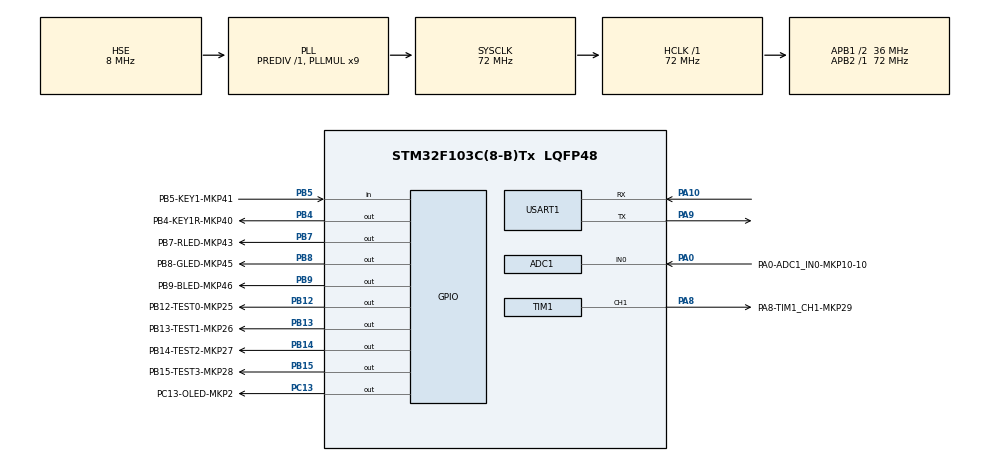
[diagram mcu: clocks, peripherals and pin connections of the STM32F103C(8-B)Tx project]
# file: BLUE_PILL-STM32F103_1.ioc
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ADC1.Channel-0\#ChannelRegularConversion=ADC_CHANNEL_0
ADC1.Channel-1\#ChannelRegularConversion=ADC_CHANNEL_VREFINT
ADC1.ExternalTrigConv=ADC_EXTERNALTRIGCONV_T3_TRGO
ADC1.NbrOfConversion=2
ADC1.NbrOfConversionFlag=1
ADC1.Rank-0\#ChannelRegularConversion=1
ADC1.Rank-1\#ChannelRegularConversion=2
ADC1.SamplingTime-0\#ChannelRegularConversion=ADC_SAMPLETIME_239CYCLES_5
ADC1.SamplingTime-1\#ChannelRegularConversion=ADC_SAMPLETIME_239CYCLES_5
ADC1.master=1
Dma.ADC1.0.Direction=DMA_PERIPH_TO_MEMORY
Dma.ADC1.0.Instance=DMA1_Channel1
Dma.ADC1.0.MemDataAlignment=DMA_MDATAALIGN_HALFWORD
Dma.ADC1.0.MemInc=DMA_MINC_ENABLE
Dma.ADC1.0.Mode=DMA_NORMAL
Dma.ADC1.0.PeriphDataAlignment=DMA_PDATAALIGN_HALFWORD
Dma.ADC1.0.PeriphInc=DMA_PINC_DISABLE
Dma.ADC1.0.Priority=DMA_PRIORITY_LOW
Dma.Request0=ADC1
Dma.Request1=USART1_TX
Dma.USART1_TX.1.Direction=DMA_MEMORY_TO_PERIPH
Dma.USART1_TX.1.Instance=DMA1_Channel4
Dma.USART1_TX.1.MemDataAlignment=DMA_MDATAALIGN_BYTE
Dma.USART1_TX.1.MemInc=DMA_MINC_ENABLE
Dma.USART1_TX.1.Mode=DMA_NORMAL
Dma.USART1_TX.1.PeriphDataAlignment=DMA_PDATAALIGN_BYTE
Dma.USART1_TX.1.PeriphInc=DMA_PINC_DISABLE
Dma.USART1_TX.1.Priority=DMA_PRIORITY_LOW
IWDG.Prescaler=IWDG_PRESCALER_256
Mcu.Family=STM32F1
Mcu.Name=STM32F103C(8-B)Tx
Mcu.Package=LQFP48
NVIC.ADC1_2_IRQn=true\:0\:0\:false\:false\:true\:true\:true\:true
NVIC.DMA1_Channel1_IRQn=true\:0\:0\:false\:false\:true\:false\:true\:true
NVIC.DMA1_Channel4_IRQn=true\:0\:0\:false\:false\:true\:false\:true\:true
NVIC.PriorityGroup=NVIC_PRIORITYGROUP_4
NVIC.USART1_IRQn=true\:0\:0\:false\:false\:true\:false\:true\:true
PA0-WKUP.GPIO_Label=PA0-ADC1_IN0-MKP10-10
PA0-WKUP.Signal=ADCx_IN0
PA10.Mode=Asynchronous
PA10.Signal=USART1_RX
PA13.Mode=Trace_Asynchronous_SW
PA13.Signal=SYS_JTMS-SWDIO
PA14.Mode=Trace_Asynchronous_SW
PA14.Signal=SYS_JTCK-SWCLK
PA8.GPIO_Label=PA8-TIM1_CH1-MKP29
PA8.GPIO_Speed=GPIO_SPEED_FREQ_HIGH
PA8.Signal=S_TIM1_CH1
PA9.Mode=Asynchronous
PA9.Signal=USART1_TX
PB12.GPIO_Label=PB12-TEST0-MKP25
PB12.GPIO_Speed=GPIO_SPEED_FREQ_HIGH
PB12.PinState=GPIO_PIN_RESET
PB12.Signal=GPIO_Output
PB13.GPIO_Label=PB13-TEST1-MKP26
PB13.GPIO_Speed=GPIO_SPEED_FREQ_HIGH
PB13.PinState=GPIO_PIN_RESET
PB13.Signal=GPIO_Output
PB14.GPIO_Label=PB14-TEST2-MKP27
PB14.GPIO_Speed=GPIO_SPEED_FREQ_HIGH
PB14.PinState=GPIO_PIN_RESET
PB14.Signal=GPIO_Output
PB15.GPIO_Label=PB15-TEST3-MKP28
PB15.GPIO_Speed=GPIO_SPEED_FREQ_HIGH
PB15.PinState=GPIO_PIN_RESET
PB15.Signal=GPIO_Output
PB3.Mode=Trace_Asynchronous_SW
PB3.Signal=SYS_JTDO-TRACESWO
PB4.GPIO_Label=PB4-KEY1R-MKP40
PB4.Signal=GPIO_Output
PB5.GPIO_Label=PB5-KEY1-MKP41
PB5.Signal=GPIO_Input
PB7.GPIO_Label=PB7-RLED-MKP43
PB7.PinState=GPIO_PIN_SET
PB7.Signal=GPIO_Output
PB8.GPIO_Label=PB8-GLED-MKP45
PB8.PinState=GPIO_PIN_SET
PB8.Signal=GPIO_Output
PB9.GPIO_Label=PB9-BLED-MKP46
PB9.PinState=GPIO_PIN_SET
PB9.Signal=GPIO_Output
PC13-TAMPER-RTC.GPIO_Label=PC13-OLED-MKP2
PC13-TAMPER-RTC.PinState=GPIO_PIN_SET
PC13-TAMPER-RTC.Signal=GPIO_Output
PC14-OSC32_IN.Mode=LSE-External-Oscillator
PC14-OSC32_IN.Signal=RCC_OSC32_IN
PC15-OSC32_OUT.Mode=LSE-External-Oscillator
PC15-OSC32_OUT.Signal=RCC_OSC32_OUT
PD0-OSC_IN.Mode=HSE-External-Oscillator
PD0-OSC_IN.Signal=RCC_OSC_IN
PD1-OSC_OUT.Mode=HSE-External-Oscillator
PD1-OSC_OUT.Signal=RCC_OSC_OUT
ProjectManager.HeapSize=0x200
ProjectManager.StackSize=0x400
ProjectManager.TargetToolchain=MDK-ARM V5.32
RCC.ADCPresc=RCC_ADCPCLK2_DIV6
RCC.AHBFreq_Value=72000000
RCC.APB1CLKDivider=RCC_HCLK_DIV2
RCC.APB1Freq_Value=36000000
RCC.APB1TimFreq_Value=72000000
RCC.APB2Freq_Value=72000000
RCC.APB2TimFreq_Value=72000000
RCC.EnbaleCSS=true
RCC.HCLKFreq_Value=72000000
RCC.PLLMUL=RCC_PLL_MUL9
RCC.PLLSourceVirtual=RCC_PLLSOURCE_HSE
RCC.SYSCLKFreq_VALUE=72000000
RCC.SYSCLKSource=RCC_SYSCLKSOURCE_PLLCLK
RCC.USBFreq_Value=72000000
SH.ADCx_IN0.0=ADC1_IN0,IN0
SH.S_TIM1_CH1.0=TIM1_CH1,Output Compare1 CH1
TIM1.Channel-Output\ Compare1\ CH1=TIM_CHANNEL_1
TIM1.OC1Preload=ENABLE
TIM1.OCMode_1=TIM_OCMODE_TOGGLE
TIM1.Period=16384-1
TIM3.Period=200-1
TIM3.Prescaler=35
TIM3.TIM_MasterOutputTrigger=TIM_TRGO_UPDATE
USART1.VirtualMode=VM_ASYNC
VP_ADC1_Vref_Input.Mode=IN-Vrefint
VP_IWDG_VS_IWDG.Mode=IWDG_Activate
VP_TIM1_VS_ClockSourceINT.Mode=Internal
VP_TIM3_VS_ClockSourceINT.Mode=Internal
board=custom

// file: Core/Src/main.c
/* USER CODE BEGIN Header */
/**
  ******************************************************************************
  * @file           : main.c
  * @brief          : Main program body
  ******************************************************************************
  * @attention
  *
  * Copyright (c) 2026 STMicroelectronics.
  * All rights reserved.
  *
  * This software is licensed under terms that can be found in the LICENSE file
  * in the root directory of this software component.
  * If no LICENSE file comes with this software, it is provided AS-IS.
  *
  ******************************************************************************
  */
/* USER CODE END Header */
#include "main.h"
#include "adc.h"
#include "dma.h"
#include "iwdg.h"
#include "tim.h"
#include "usart.h"
#include "gpio.h"

/* USER CODE BEGIN PV */
volatile uint32_t AdcBuffConvCntr = 0;
static uint16_t AdcDblBuff[2][CONV_FRAME_COUNT*CHANNEL_COUNT];
static uint32_t AdcLastBuffSumm = 0;
static uint32_t AdcLastRefSumm = 0;

static bool fAdcReady = false;

static uint32_t OutAcc = 0;
static uint32_t OutRefAcc = 0;

static char OutTextBuf[128];
static TickType_t OutDataNextTime = 0;

static TickType_t LedBlinkNextTime = 0;

extern TIM_HandleTypeDef htim3;
/* USER CODE END PV */

void SystemClock_Config(void);

/* USER CODE BEGIN 0 */
//******************************************************************************
// User functions
//------------------------------------------------------------------------------
// For debug printf
int fputc(int ch, FILE *f)
{
  UNUSED(f);

  ITM_SendChar(ch);
  return(ch);
}
//------------------------------------------------------------------------------

//******************************************************************************
//------------------------------------------------------------------------------
void HAL_TIM_PeriodElapsedCallback(TIM_HandleTypeDef *htim)
{
  /* Prevent unused argument(s) compilation warning */
  UNUSED(htim);

  /* NOTE : This function should not be modified, when the callback is needed,
            the HAL_TIM_PeriodElapsedCallback could be implemented in the user file
   */
  if(&htim1 == htim) {
    TEST3ON();
    TEST3OFF();
  }
  if(&htim3 == htim) {
    TEST2ON();
    TEST2OFF();
  }
}
//------------------------------------------------------------------------------
void HAL_ADC_ConvCpltCallback(ADC_HandleTypeDef *hadc)
{
  /* Prevent unused argument(s) compilation warning */
  UNUSED(hadc);
  /* NOTE : This function Should not be modified, when the callback is needed,
            the HAL_ADC_ConvCpltCallback could be implemented in the user file
  */
  if(&hadc1 == hadc) {
    TEST3ON();
    AdcBuffConvCntr++;
    fAdcReady = true;
    HAL_ADC_Stop_DMA(&hadc1);
    // Запуск нового цикла считывания АЦП в активный буфер
    HAL_ADC_Start_DMA(&hadc1, (uint32_t*)AdcDblBuff[AdcBuffConvCntr & 0x1],
                      CONV_FRAME_COUNT*CHANNEL_COUNT);
    TEST3OFF();
  }
}
//------------------------------------------------------------------------------
// Обоснование в комментариях main.h
static int AdcBuffSumm(const uint16_t *Buff, int Count, uint16_t ErrTreshold, uint32_t *Summ, uint32_t *SummRef)
{
  int ret = 0, Avg;

  *SummRef = *Summ = 0;

  Avg = (Buff[0] + Buff[CHANNEL_COUNT] + 1) >> 1;
  if(ErrTreshold > abs((int)Avg - (int)Buff[0]))
    *Summ = Buff[0];
  else {
    *Summ = Avg; ret--;
  }
  Avg = (Buff[1] + Buff[1+CHANNEL_COUNT] + 1) >> 1;
  if(ErrTreshold > abs((int)Avg - (int)Buff[1]))
    *SummRef = Buff[1];
  else {
    *SummRef = Avg; ret--;
  }

  for(int i=1;i<Count-1;i++)
  {

    Avg = (Buff[(i-1)*CHANNEL_COUNT] + Buff[(i+1)*CHANNEL_COUNT] + 1) >> 1;
    if(ErrTreshold > abs((int)Avg - (int)Buff[i*CHANNEL_COUNT]))
      *Summ += Buff[i*CHANNEL_COUNT];
    else {
      *Summ += Avg; ret--;
    }
    Avg = (Buff[(i-1)*CHANNEL_COUNT+1] + Buff[(i+1)*CHANNEL_COUNT+1] + 1) >> 1;
    if(ErrTreshold > abs((int)Avg - (int)Buff[i*CHANNEL_COUNT+1]))
      *SummRef += Buff[i*CHANNEL_COUNT+1];
    else {
      *SummRef += Avg; ret--;
    }
  }

  Avg = (Buff[(Count-2)*CHANNEL_COUNT] + Buff[(Count-1)*CHANNEL_COUNT] + 1) >> 1;
  if(ErrTreshold > abs((int)Avg - (int)Buff[(Count-1)*CHANNEL_COUNT]))
    *Summ += Buff[Count-1];
  else {
    *Summ = Avg; ret--;
  }
  Avg = (Buff[(Count-2)*CHANNEL_COUNT+1] + Buff[(Count-1)*CHANNEL_COUNT+1] + 1) >> 1;
  if(ErrTreshold > abs((int)Avg - (int)Buff[(Count-1)*CHANNEL_COUNT+1]))
    *SummRef += Buff[Count-1];
  else {
    *SummRef = Avg; ret--;
  }

  // Умножаем сумму на коэффициент оверсэмплинга
  // K = (1<<CONV_FRAME_OVERS_POW)=(1<<2)=4)
  *Summ <<= CONV_FRAME_OVERS_POW; // Oversampling multipler
  *SummRef <<= CONV_FRAME_OVERS_POW; // Oversampling multipler

  return ret;
}
//------------------------------------------------------------------------------
static inline void SetPwmOut(uint32_t Value) {
  // Устанавливаем новое значение ШИМ
  TIM_OC_InitTypeDef pwmConfigOC;
  pwmConfigOC.OCMode = TIM_OCMODE_PWM1;
  pwmConfigOC.Pulse = Value;
  pwmConfigOC.OCPolarity = TIM_OCPOLARITY_HIGH;
  pwmConfigOC.OCNPolarity = TIM_OCNPOLARITY_HIGH;
  pwmConfigOC.OCFastMode = TIM_OCFAST_DISABLE;
  pwmConfigOC.OCIdleState = TIM_OCIDLESTATE_RESET;
  pwmConfigOC.OCNIdleState = TIM_OCNIDLESTATE_RESET;
  if (HAL_TIM_PWM_ConfigChannel(&htim1, &pwmConfigOC, PWM_TIM1_CHANNEL) != HAL_OK)
  {
    LOG_ERROR("%s :: HAL_TIM_PWM_ConfigChannel - fail\r\n", __func__);
    Error_Handler();
  }
  // Hack! For decrease setup time (two wariants))
  /* Set the Capture Compare Register value
  htim1.Instance->CCR1 = Value; */
  /* Set the Capture Compare Register value
  __HAL_TIM_SetCompare(&htim1, PWM_TIM1_CHANNEL, Value); */

}
//------------------------------------------------------------------------------
static inline HAL_StatusTypeDef OutTextVal(int AdcOutAvg, int AdcVrefAvg) {
  HAL_StatusTypeDef status;

  sprintf(OutTextBuf, "AdcVin = %d mV\r\n", (int)ADC2MV(AdcOutAvg));

  status = HAL_UART_Transmit_DMA(&huart1, (uint8_t*)OutTextBuf, strlen(OutTextBuf));
  // ?? uS
  LOG_PRINTF("AdcVin = %d mV, AdcVref = %d\r\n", (int)ADC2MV(AdcOutAvg), (int)ADC2MV(AdcVrefAvg));

  return status;
}

//******************************************************************************
/* USER CODE END 0 */

int main(void)
{

  /* USER CODE BEGIN 1 */
  HAL_StatusTypeDef status;
  /* USER CODE END 1 */

  /* MCU Configuration--------------------------------------------------------*/

  /* Reset of all peripherals, Initializes the Flash interface and the Systick. */
  HAL_Init();

  /* Configure the system clock */
  SystemClock_Config();

  /* Initialize all configured peripherals */
  MX_GPIO_Init();
  MX_DMA_Init();
  MX_ADC1_Init();
  MX_IWDG_Init();
  MX_TIM1_Init();
  MX_USART1_UART_Init();
  MX_TIM3_Init();
  /* USER CODE BEGIN 2 */
  __watchdog_reset();
  memset(AdcDblBuff, 0, sizeof(AdcDblBuff));

  HAL_ADC_Stop_DMA(&hadc1);
  HAL_ADC_Stop(&hadc1);

  HAL_TIM_Base_Start_IT(&htim1);
  HAL_TIM_Base_Start_IT(&htim3);

  Sleep(150);
  status = HAL_ADC_Start_DMA(&hadc1, (uint32_t*)AdcDblBuff[AdcBuffConvCntr & 0x1],
                             CONV_FRAME_COUNT*CHANNEL_COUNT);
  if(HAL_OK != status) {
    LOG_ERROR("%s :: HAL_ADC_Start_DMA -fail, status = %d\r\n", __func__, (int)status);
  }

  __HAL_TIM_SetCompare(&htim1, PWM_TIM1_CHANNEL, 12000);
  status = HAL_TIM_PWM_Start(&htim1, TIM_CHANNEL_1);

  SetPwmOut(ADC_MAX);
  Sleep(150);
  SetPwmOut(0);
  Sleep(150);

  OutDataNextTime = Get1mSTickCount() + OUT_VALUE_TIME_mS;
  /* USER CODE END 2 */

  /* Infinite loop */
  /* USER CODE BEGIN WHILE */
  while (1)
  {
    __watchdog_reset();

    if((fAdcReady))
    {
      TEST1ON();

      fAdcReady = false;

      // Пока заполняем активный буфер прпоизводится обработка полученного буфера

      // Рассчитываем полную сумму по буферу
      AdcBuffSumm(AdcDblBuff[(AdcBuffConvCntr & 0x1) ^ 0x1], CONV_FRAME_COUNT,
                             ADC_MAX_ERR_THD, &AdcLastBuffSumm, &AdcLastRefSumm);
      // Получаем среднеарифметическое по буферу, для округления добавляенм половину количества
      uint32_t ValueAvg = (AdcLastBuffSumm + (CONV_FRAME_COUNT >> 1) + 1) / CONV_FRAME_COUNT;
      uint32_t ValueRefAvg = (AdcLastRefSumm + (CONV_FRAME_COUNT >> 1) + 1) / CONV_FRAME_COUNT;

      OutAcc += ValueAvg;
      OutRefAcc += ValueRefAvg;

      // Устанавливаем новое значение ШИМ
      SetPwmOut(ValueAvg);
      TEST1OFF();
    }
    else
    {
      if((Get1mSTickCount() >= OutDataNextTime))
      { // 29 uS
        OutDataNextTime = Get1mSTickCount() + OUT_VALUE_TIME_mS;

        int AdcOutAvg = (OutAcc + (OUT_VALUE_COUNT >> 1) + 1) / (OUT_VALUE_COUNT);
        int AdcRefAvg = (OutRefAcc + (OUT_VALUE_COUNT >> 1) + 1) / (OUT_VALUE_COUNT);
        OutRefAcc = OutAcc = 0;

        OutTextVal(AdcOutAvg, AdcRefAvg);
        GLEDTGL();
      }
    }

    if(Get1mSTickCount() >= LedBlinkNextTime)
    {
      LedBlinkNextTime = Get1mSTickCount() + LED_BLINK_TIME_mS;
      OLEDTGL();
    }
    /* USER CODE END WHILE */

  }
}

void SystemClock_Config(void)
{
  RCC_OscInitTypeDef RCC_OscInitStruct = {0};
  RCC_ClkInitTypeDef RCC_ClkInitStruct = {0};
  RCC_PeriphCLKInitTypeDef PeriphClkInit = {0};

  /** Initializes the RCC Oscillators according to the specified parameters
  * in the RCC_OscInitTypeDef structure.
  */
  RCC_OscInitStruct.OscillatorType = RCC_OSCILLATORTYPE_LSI|RCC_OSCILLATORTYPE_HSE;
  RCC_OscInitStruct.HSEState = RCC_HSE_ON;
  RCC_OscInitStruct.HSEPredivValue = RCC_HSE_PREDIV_DIV1;
  RCC_OscInitStruct.HSIState = RCC_HSI_ON;
  RCC_OscInitStruct.LSIState = RCC_LSI_ON;
  RCC_OscInitStruct.PLL.PLLState = RCC_PLL_ON;
  RCC_OscInitStruct.PLL.PLLSource = RCC_PLLSOURCE_HSE;
  RCC_OscInitStruct.PLL.PLLMUL = RCC_PLL_MUL9;
  if (HAL_RCC_OscConfig(&RCC_OscInitStruct) != HAL_OK)
  {
    Error_Handler();
  }

  /** Initializes the CPU, AHB and APB buses clocks
  */
  RCC_ClkInitStruct.ClockType = RCC_CLOCKTYPE_HCLK|RCC_CLOCKTYPE_SYSCLK
                              |RCC_CLOCKTYPE_PCLK1|RCC_CLOCKTYPE_PCLK2;
  RCC_ClkInitStruct.SYSCLKSource = RCC_SYSCLKSOURCE_PLLCLK;
  RCC_ClkInitStruct.AHBCLKDivider = RCC_SYSCLK_DIV1;
  RCC_ClkInitStruct.APB1CLKDivider = RCC_HCLK_DIV2;
  RCC_ClkInitStruct.APB2CLKDivider = RCC_HCLK_DIV1;

  if (HAL_RCC_ClockConfig(&RCC_ClkInitStruct, FLASH_LATENCY_2) != HAL_OK)
  {
    Error_Handler();
  }
  PeriphClkInit.PeriphClockSelection = RCC_PERIPHCLK_ADC;
  PeriphClkInit.AdcClockSelection = RCC_ADCPCLK2_DIV6;
  if (HAL_RCCEx_PeriphCLKConfig(&PeriphClkInit) != HAL_OK)
  {
    Error_Handler();
  }

  /** Enables the Clock Security System
  */
  HAL_RCC_EnableCSS();
}

void Error_Handler(void)
{
  __disable_irq();
  while (1)
  {
  }
}
#ifdef USE_FULL_ASSERT
/**
  * @brief  Reports the name of the source file and the source line number
  *         where the assert_param error has occurred.
  * @param  file: pointer to the source file name
  * @param  line: assert_param error line source number
  * @retval None
  */
void assert_failed(uint8_t *file, uint32_t line)
{
  /* USER CODE BEGIN 6 */
  UNUSED(file);
  UNUSED(line);
  /* User can add his own implementation to report the file name and line number,
     ex: printf("Wrong parameters value: file %s on line %d\r\n", file, line) */
  /* USER CODE END 6 */
}
#endif /* USE_FULL_ASSERT */
